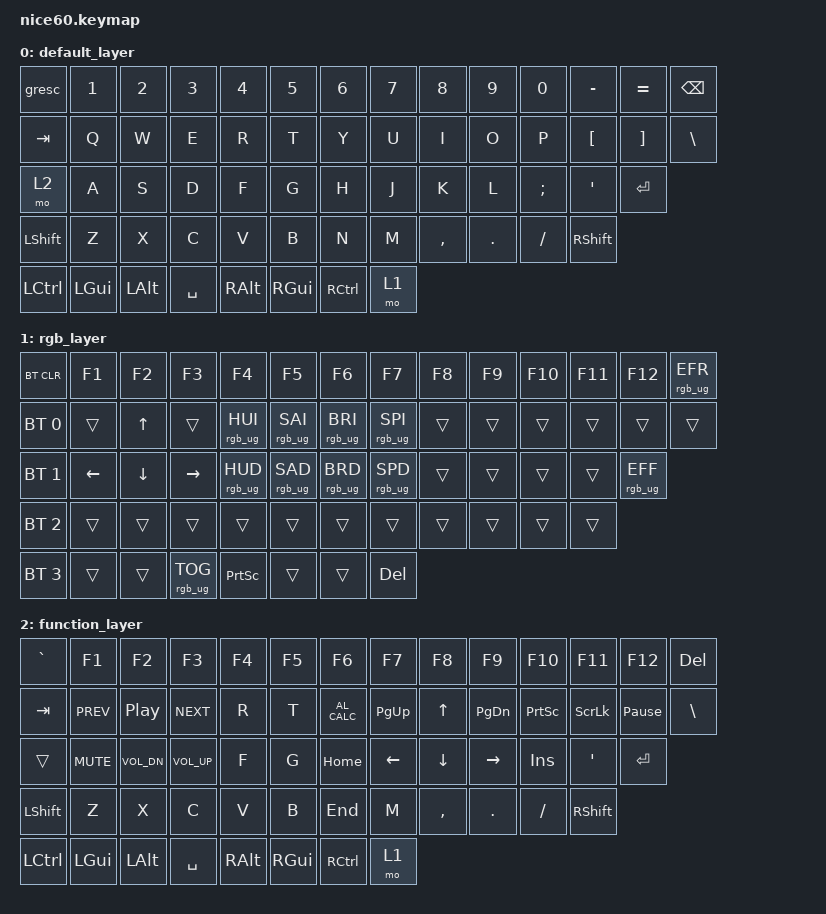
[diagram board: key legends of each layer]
/*
 * Copyright (c) 2021 Nick Winans
 *
 * SPDX-License-Identifier: MIT
 */

#include <behaviors.dtsi>
#include <dt-bindings/zmk/keys.h>
#include <dt-bindings/zmk/rgb.h>
#include <dt-bindings/zmk/bt.h>
#include <dt-bindings/zmk/outputs.h>
#include <dt-bindings/zmk/reset.h>
#include <dt-bindings/zmk/ext_power.h>


/ {
	keymap {
		compatible = "zmk,keymap";
		
		default_layer {
// ------------------------------------------------------------------------------------------
// | ESC |  1  |  2  |  3  |  4  |  5  |  6  |  7  |  8  |  9  |  0  |  -  |  =  |   BKSP   |
// | TAB  |  Q  |  W  |  E  |  R  |  T  |  Y  |  U  |  I  |  O  |  P  |  [  |  ]  |   "|"   |
// | MO(2)  |  A  |  S  |  D  |  F  |  G  |  H  |  J  |  K  |  L  |  ;  |  '  |     ENTER    |
// |  SHIFT  |  Z  |  X  |  C  |  V  |  B  |  N  |  M  |  ,  |  .  |  /  |      SHIFT       |
// |  CTL  |  WIN  |  ALT  |            SPACE              |  ALT  |  WIN  |  CTL |  MO(1)  |
// ------------------------------------------------------------------------------------------
			bindings = <
	&gresc  &kp N1 &kp N2 &kp N3 &kp N4 &kp N5 &kp N6 &kp N7 &kp N8 &kp N9 &kp N0 &kp MINUS &kp EQUAL  &kp BSPC
	&kp TAB  &kp Q  &kp W  &kp E  &kp R  &kp T  &kp Y  &kp U  &kp I  &kp O  &kp P  &kp LBKT  &kp RBKT  &kp BSLH
	&mo 2     &kp A  &kp S  &kp D  &kp F  &kp G  &kp H  &kp J  &kp K  &kp L  &kp SEMI &kp SQT           &kp RET
	&kp LSHFT   &kp Z  &kp X  &kp C  &kp V  &kp B  &kp N  &kp M  &kp COMMA &kp DOT &kp FSLH           &kp RSHFT
	&kp LCTRL &kp LGUI &kp LALT             &kp SPACE                     &kp RALT  &kp RGUI  &kp RCTRL   &mo 1   
			>;
		};

		rgb_layer {
// ------------------------------------------------------------------------------------------------
// | BT CLR | F1  | F2  | F3  | F4  | F5  | F6  | F7  | F8  | F9  | F10  | F11 | F12 | EFFECT REV |
// |  BT 1   |   |  UP |   | HUEUP | SATUP | BRIUP | SPDUP |   |     |    |     |     |           |
// |   BT 2   | LT |  DN  | RT | HUEDN | SATDN | BRIDN | SPDDN |   |     |   |     |  EFFECT FORW |
// |    BT 3     |     |      |      |     |     |     |     |     |     |     |                  |
// |   BT 4  |      |      |             TOG RGB                | PRT SCR |       |       |  DEL  |
// ------------------------------------------------------------------------------------------------
			bindings = <
	&bt BT_CLR   &kp F1    &kp F2    &kp F3  &kp F4           &kp F5          &kp F6          &kp F7          &kp F8   &kp F9   &kp F10  &kp F11 &kp F12  &rgb_ug RGB_EFR
	&bt BT_SEL 0  &trans    &kp UP    &trans  &rgb_ug RGB_HUI  &rgb_ug RGB_SAI &rgb_ug RGB_BRI &rgb_ug RGB_SPI  &trans   &trans   &trans   &trans  &trans          &trans 
	&bt BT_SEL 1   &kp LEFT  &kp DOWN  &kp RIGHT &rgb_ug RGB_HUD &rgb_ug RGB_SAD &rgb_ug RGB_BRD &rgb_ug RGB_SPD &trans   &trans   &trans   &trans        &rgb_ug RGB_EFF
	&bt BT_SEL 2    &trans    &trans    &trans   &trans          &trans          &trans          &trans          &trans   &trans   &trans                          &trans
	&bt BT_SEL 3  &trans   &trans                            &rgb_ug RGB_TOG                                      &kp PSCRN      &trans      &trans               &kp DEL
			>;
		};

		function_layer {
// ------------------------------------------------------------------------------------------
// | `   |  1  |  2  |  3  |  4  |  5  |  6  |  7  |  8  |  9  |  0  |  -  |  =  |   BKSP   |
// | TAB  |  Q  |  W  |  E  |  R  |  T  |  Y  |  U  |  Pg. Up  |  UP  |  Pg. Down  |  [  |  ]  |   "|"   |
// | MO(2)  |  A  |  S  |  D  |  F  |  G  |  Home  |  LEFT  |  DOWN  |  RIGHT  |  ;  |  '  |     ENTER   |
// |  SHIFT  |  Z  |  X  |  C  |  V  |  B  |  End  |  M  |  ,  |  .  |  /  |      SHIFT       |
// |  CTL  |  WIN  |  ALT  |            SPACE              |  ALT  |  WIN  |  CTL |  MO(1)  |
// ------------------------------------------------------------------------------------------
			bindings = <
	&kp GRAVE   &kp F1       &kp F2              &kp F3         &kp F4       &kp F5      &kp F6           &kp F7      &kp F8      &kp F9      &kp F10     &kp F11     &kp F12            &kp DEL
	&kp TAB     &kp C_PREV   &kp C_PLAY_PAUSE    &kp C_NEXT     &kp R        &kp T       &kp C_AL_CALC    &kp PG_UP   &kp UP      &kp PG_DN   &kp PSCRN   &kp SLCK    &kp PAUSE_BREAK    &kp BSLH
	&trans      &kp C_MUTE   &kp C_VOL_DN        &kp C_VOL_UP   &kp F        &kp G       &kp HOME         &kp LEFT    &kp DOWN    &kp RIGHT   &kp INS     &kp SQT     &kp RET
	&kp LSHFT   &kp Z        &kp X               &kp C          &kp V        &kp B       &kp END          &kp M       &kp COMMA   &kp DOT     &kp FSLH    &kp RSHFT
	&kp LCTRL   &kp LGUI     &kp LALT            &kp SPACE      &kp RALT     &kp RGUI    &kp RCTRL        &mo 1   
			>;
		};        
	};
};
